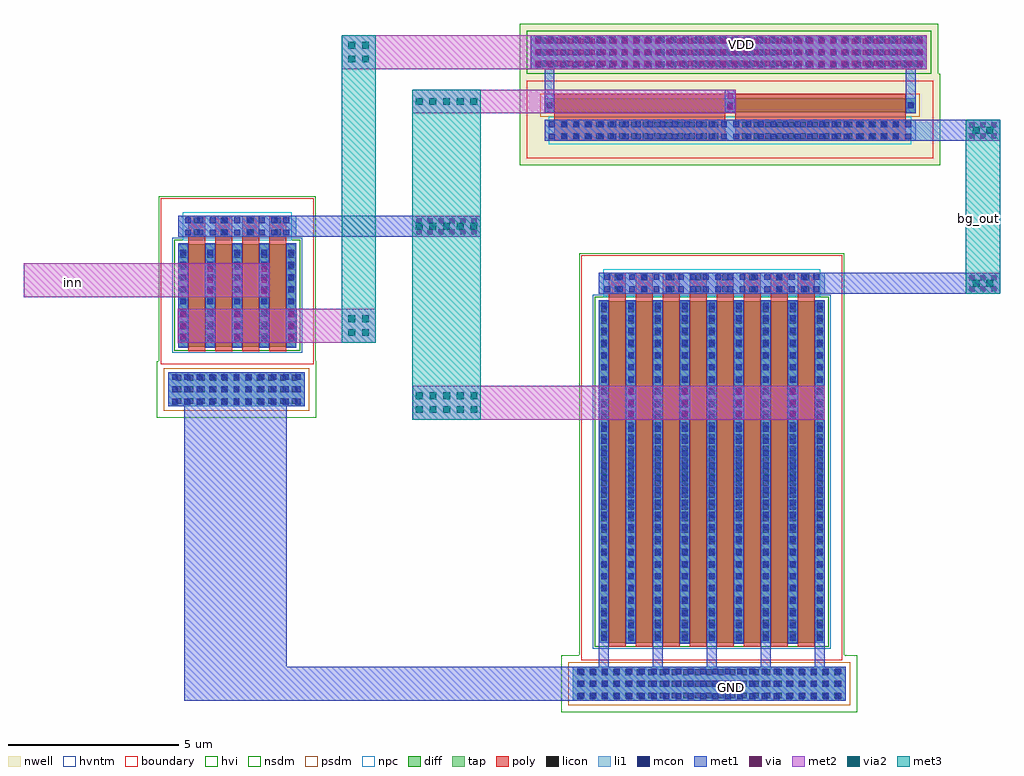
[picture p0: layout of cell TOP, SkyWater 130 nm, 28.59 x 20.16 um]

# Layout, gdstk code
import gdstk
lib = gdstk.Library(unit=1e-6, precision=1e-09)
def R(c, l, rs):  # rectangles x0, y0, x1, y1
    for r in rs: c.add(gdstk.rectangle(r[:2], r[2:], *l))
def A(c, l, x, y, w, h, nx, ny, dx, dy):  # array of equal rectangles
    R(c, l, [(x+i*dx, y+j*dy, x+i*dx+w, y+j*dy+h) for i in range(nx) for j in range(ny)])
nwell = (64, 20)
diff = (65, 20)
tap = (65, 44)
poly = (66, 20)
licon = (66, 44)
li1 = (67, 20)
mcon = (67, 44)
met1 = (68, 20)
via = (68, 44)
met2 = (69, 20)
via2 = (69, 44)
met3 = (70, 20)
hvi = (75, 20)
nsdm = (93, 44)
psdm = (94, 20)
npc = (95, 20)
hvntm = (125, 20)
boundary = (235, 4)

via_new_10 = lib.new_cell('via_new$10')
A(via_new_10, licon, 0.275, -0.425, 0.17, 0.17, 33, 3, 0.34, 0.34)
A(via_new_10, mcon, 0.135, -0.445, 0.17, 0.17, 32, 3, 0.36, 0.36)
A(via_new_10, via, 0.125, -0.395, 0.15, 0.15, 36, 3, 0.32, 0.32)
via_new_10.add(gdstk.FlexPath([(0,0),(11.6,0)], 1, ends="flush", simple_path=True, layer=67, datatype=20))  # li1
via_new_10.add(gdstk.FlexPath([(0,0),(11.6,0)], 1, ends="flush", simple_path=True, layer=68, datatype=20))  # met1
via_new_10.add(gdstk.FlexPath([(-0.33,0),(11.93,0)], 1.66, ends="flush", simple_path=True, layer=75, datatype=20))  # hvi
via_new_10.add(gdstk.FlexPath([(-0.125,0),(11.725,0)], 1.25, ends="flush", simple_path=True, layer=93, datatype=44))  # nsdm
via_new_10.add(gdstk.FlexPath([(-0.125,0),(11.725,0)], 1.25, ends="flush", simple_path=True, layer=64, datatype=20))  # nwell
via_new_10.add(gdstk.FlexPath([(-0.33,0),(11.93,0)], 1.66, ends="flush", simple_path=True, layer=64, datatype=20))  # nwell
via_new_10.add(gdstk.FlexPath([(0,0),(11.6,0)], 1, ends="flush", simple_path=True, layer=69, datatype=20))  # met2
via_new_10.add(gdstk.FlexPath([(0,0),(11.6,0)], 1, ends="flush", simple_path=True, layer=65, datatype=44))  # tap

pmos5_w0p42u_l5p0u_nf2_d = lib.new_cell('pmos5_w0p42u_l5p0u_nf2_drain_area1_gate_connection1alt1')
R(pmos5_w0p42u_l5p0u_nf2_d, nwell, [(-0.72,-1.55,11.59,1.14)])
R(pmos5_w0p42u_l5p0u_nf2_d, diff, [(0,0,10.87,0.42)])
R(pmos5_w0p42u_l5p0u_nf2_d, poly, [(0.29,-0.83,5.29,-0.22), (5.58,-0.83,10.58,-0.22), (0.29,-0.22,5.29,-0.13), (5.58,-0.22,10.58,-0.13), (0.29,-0.13,5.29,0.55), (5.58,-0.13,10.58,0.55)])
A(pmos5_w0p42u_l5p0u_nf2_d, licon, 0.495, -0.78, 0.17, 0.17, 14, 2, 0.34, 0.34)
A(pmos5_w0p42u_l5p0u_nf2_d, licon, 5.785, -0.78, 0.17, 0.17, 14, 2, 0.34, 0.34)
A(pmos5_w0p42u_l5p0u_nf2_d, licon, 0.06, 0.125, 0.17, 0.17, 3, 1, 5.29, 0)
R(pmos5_w0p42u_l5p0u_nf2_d, li1, [(0,-0.83,10.87,-0.22)])
A(pmos5_w0p42u_l5p0u_nf2_d, mcon, 0.13, -0.79, 0.17, 0.17, 30, 2, 0.36, 0.36)
R(pmos5_w0p42u_l5p0u_nf2_d, mcon, [(0.06,0.125,0.23,0.295), (0.06,0.125,0.23,0.295), (5.35,0.125,5.52,0.295), (5.35,0.125,5.52,0.295), (10.64,0.125,10.81,0.295), (10.64,0.125,10.81,0.295)])
R(pmos5_w0p42u_l5p0u_nf2_d, met1, [(0,-0.83,10.87,-0.22)])
R(pmos5_w0p42u_l5p0u_nf2_d, hvi, [(-0.72,-1.55,11.59,1.14)])
R(pmos5_w0p42u_l5p0u_nf2_d, psdm, [(-0.125,-0.125,10.995,0.545)])
R(pmos5_w0p42u_l5p0u_nf2_d, npc, [(0.13,-0.93,5.45,-0.12), (5.42,-0.93,10.74,-0.12)])
R(pmos5_w0p42u_l5p0u_nf2_d, boundary, [(-0.515,-1.345,11.385,0.935)])
pmos5_w0p42u_l5p0u_nf2_d.add(gdstk.FlexPath([(0.145,0),(0.145,0.42)], 0.29, ends="flush", simple_path=True, layer=67, datatype=20))  # li1
pmos5_w0p42u_l5p0u_nf2_d.add(gdstk.FlexPath([(5.435,0),(5.435,0.42)], 0.29, ends="flush", simple_path=True, layer=67, datatype=20))  # li1
pmos5_w0p42u_l5p0u_nf2_d.add(gdstk.FlexPath([(10.725,0),(10.725,0.42)], 0.29, ends="flush", simple_path=True, layer=67, datatype=20))  # li1
pmos5_w0p42u_l5p0u_nf2_d.add(gdstk.FlexPath([(0.145,-0.03),(0.145,0.45)], 0.29, ends="flush", simple_path=True, layer=68, datatype=20))  # met1
pmos5_w0p42u_l5p0u_nf2_d.add(gdstk.FlexPath([(5.435,-0.03),(5.435,0.45)], 0.29, ends="flush", simple_path=True, layer=68, datatype=20))  # met1
pmos5_w0p42u_l5p0u_nf2_d.add(gdstk.FlexPath([(10.725,-0.03),(10.725,0.45)], 0.29, ends="flush", simple_path=True, layer=68, datatype=20))  # met1

pmos5d10 = lib.new_cell('pmos5d10')
r = gdstk.Reference(pmos5_w0p42u_l5p0u_nf2_d, (0,0)); r.repetition = gdstk.Repetition(1, 1, v1=(0,0), v2=(0,0)); pmos5d10.add(r)

via_new_5 = lib.new_cell('via_new$5')
R(via_new_5, via, [(0.085,-0.235,0.235,-0.085), (0.085,0.085,0.235,0.235)])
via_new_5.add(gdstk.FlexPath([(0,0),(0.32,0)], 0.7, ends="flush", simple_path=True, layer=68, datatype=20))  # met1
via_new_5.add(gdstk.FlexPath([(0,0),(0.32,0)], 0.7, ends="flush", simple_path=True, layer=69, datatype=20))  # met2

via_new_6 = lib.new_cell('via_new$6')
A(via_new_6, via, 0.105, -0.235, 0.15, 0.15, 3, 2, 0.32, 0.32)
R(via_new_6, via2, [(0.2,-0.1,0.4,0.1), (0.6,-0.1,0.8,0.1)])
via_new_6.add(gdstk.FlexPath([(0,0),(1,0)], 0.61, ends="flush", simple_path=True, layer=68, datatype=20))  # met1
via_new_6.add(gdstk.FlexPath([(0,0),(1,0)], 0.61, ends="flush", simple_path=True, layer=69, datatype=20))  # met2
via_new_6.add(gdstk.FlexPath([(0,0),(1,0)], 0.61, ends="flush", simple_path=True, layer=70, datatype=20))  # met3

via_new_7 = lib.new_cell('via_new$7')
A(via_new_7, via2, 0.1, -0.1, 0.2, 0.2, 5, 1, 0.4, 0)
via_new_7.add(gdstk.FlexPath([(0,0),(2,0)], 0.69, ends="flush", simple_path=True, layer=69, datatype=20))  # met2
via_new_7.add(gdstk.FlexPath([(0,0),(2,0)], 0.69, ends="flush", simple_path=True, layer=70, datatype=20))  # met3

via_new_3 = lib.new_cell('via_new$3')
A(via_new_3, via2, 0.1, -0.3, 0.2, 0.2, 5, 2, 0.4, 0.4)
via_new_3.add(gdstk.FlexPath([(0,0),(2,0)], 1, ends="flush", simple_path=True, layer=69, datatype=20))  # met2
via_new_3.add(gdstk.FlexPath([(0,0),(2,0)], 1, ends="flush", simple_path=True, layer=70, datatype=20))  # met3

via_new_8 = lib.new_cell('via_new$8')
A(via_new_8, via, 0.085, -0.395, 0.15, 0.15, 1, 3, 0, 0.32)
via_new_8.add(gdstk.FlexPath([(0,0),(0.32,0)], 1, ends="flush", simple_path=True, layer=68, datatype=20))  # met1
via_new_8.add(gdstk.FlexPath([(0,0),(0.32,0)], 1, ends="flush", simple_path=True, layer=69, datatype=20))  # met2

via_new_12 = lib.new_cell('via_new$12')
A(via_new_12, licon, 0.175, -0.425, 0.17, 0.17, 23, 3, 0.34, 0.34)
A(via_new_12, mcon, 0.135, -0.445, 0.17, 0.17, 22, 3, 0.36, 0.36)
via_new_12.add(gdstk.FlexPath([(0,0),(8,0)], 1, ends="flush", simple_path=True, layer=67, datatype=20))  # li1
via_new_12.add(gdstk.FlexPath([(0,0),(8,0)], 1, ends="flush", simple_path=True, layer=68, datatype=20))  # met1
via_new_12.add(gdstk.FlexPath([(-0.33,0),(8.33,0)], 1.66, ends="flush", simple_path=True, layer=75, datatype=20))  # hvi
via_new_12.add(gdstk.FlexPath([(-0.125,0),(8.125,0)], 1.25, ends="flush", simple_path=True, layer=94, datatype=20))  # psdm
via_new_12.add(gdstk.FlexPath([(0,0),(8,0)], 1, ends="flush", simple_path=True, layer=65, datatype=44))  # tap

nmos5_w10p0u_l0p5u_nf8_d = lib.new_cell('nmos5_w10p0u_l0p5u_nf8_drain_area1_gate_connection0alt1')
R(nmos5_w10p0u_l0p5u_nf8_d, diff, [(0,0,6.61,10)])
A(nmos5_w10p0u_l0p5u_nf8_d, poly, 0.29, -0.13, 0.5, 10.26, 8, 1, 0.79, 0)
R(nmos5_w10p0u_l0p5u_nf8_d, poly, [(0.29,10.13,0.79,10.22), (0.29,10.13,0.79,10.22), (0.29,10.13,0.79,10.22), (0.29,10.13,0.79,10.22), (1.08,10.13,1.58,10.22), (1.08,10.13,1.58,10.22), (1.08,10.13,1.58,10.22), (1.08,10.13,1.58,10.22), (1.87,10.13,2.37,10.22), (1.87,10.13,2.37,10.22), (1.87,10.13,2.37,10.22), (1.87,10.13,2.37,10.22), (2.66,10.13,3.16,10.22), (2.66,10.13,3.16,10.22), (2.66,10.13,3.16,10.22), (2.66,10.13,3.16,10.22), (3.45,10.13,3.95,10.22), (3.45,10.13,3.95,10.22), (3.45,10.13,3.95,10.22), (3.45,10.13,3.95,10.22), (4.24,10.13,4.74,10.22), (4.24,10.13,4.74,10.22), (4.24,10.13,4.74,10.22), (4.24,10.13,4.74,10.22), (5.03,10.13,5.53,10.22), (5.03,10.13,5.53,10.22), (5.03,10.13,5.53,10.22), (5.03,10.13,5.53,10.22), (5.82,10.13,6.32,10.22), (5.82,10.13,6.32,10.22), (5.82,10.13,6.32,10.22), (5.82,10.13,6.32,10.22), (0.29,10.22,0.79,10.83), (0.29,10.22,0.79,10.83), (0.29,10.22,0.79,10.83), (0.29,10.22,0.79,10.83), (1.08,10.22,1.58,10.83), (1.08,10.22,1.58,10.83), (1.08,10.22,1.58,10.83), (1.08,10.22,1.58,10.83), (1.87,10.22,2.37,10.83), (1.87,10.22,2.37,10.83), (1.87,10.22,2.37,10.83), (1.87,10.22,2.37,10.83), (2.66,10.22,3.16,10.83), (2.66,10.22,3.16,10.83), (2.66,10.22,3.16,10.83), (2.66,10.22,3.16,10.83), (3.45,10.22,3.95,10.83), (3.45,10.22,3.95,10.83), (3.45,10.22,3.95,10.83), (3.45,10.22,3.95,10.83), (4.24,10.22,4.74,10.83), (4.24,10.22,4.74,10.83), (4.24,10.22,4.74,10.83), (4.24,10.22,4.74,10.83), (5.03,10.22,5.53,10.83), (5.03,10.22,5.53,10.83), (5.03,10.22,5.53,10.83), (5.03,10.22,5.53,10.83), (5.82,10.22,6.32,10.83), (5.82,10.22,6.32,10.83), (5.82,10.22,6.32,10.83), (5.82,10.22,6.32,10.83)])
A(nmos5_w10p0u_l0p5u_nf8_d, licon, 0.06, 0.155, 0.17, 0.17, 9, 29, 0.79, 0.34)
R(nmos5_w10p0u_l0p5u_nf8_d, licon, [(0.455,10.27,0.625,10.44), (0.455,10.27,0.625,10.44), (0.455,10.27,0.625,10.44), (0.455,10.27,0.625,10.44), (1.245,10.27,1.415,10.44), (1.245,10.27,1.415,10.44), (1.245,10.27,1.415,10.44), (1.245,10.27,1.415,10.44), (2.035,10.27,2.205,10.44), (2.035,10.27,2.205,10.44), (2.035,10.27,2.205,10.44), (2.035,10.27,2.205,10.44), (2.825,10.27,2.995,10.44), (2.825,10.27,2.995,10.44), (2.825,10.27,2.995,10.44), (2.825,10.27,2.995,10.44), (3.615,10.27,3.785,10.44), (3.615,10.27,3.785,10.44), (3.615,10.27,3.785,10.44), (3.615,10.27,3.785,10.44), (4.405,10.27,4.575,10.44), (4.405,10.27,4.575,10.44), (4.405,10.27,4.575,10.44), (4.405,10.27,4.575,10.44), (5.195,10.27,5.365,10.44), (5.195,10.27,5.365,10.44), (5.195,10.27,5.365,10.44), (5.195,10.27,5.365,10.44), (5.985,10.27,6.155,10.44), (5.985,10.27,6.155,10.44), (5.985,10.27,6.155,10.44), (5.985,10.27,6.155,10.44), (0.455,10.61,0.625,10.78), (0.455,10.61,0.625,10.78), (0.455,10.61,0.625,10.78), (0.455,10.61,0.625,10.78), (1.245,10.61,1.415,10.78), (1.245,10.61,1.415,10.78), (1.245,10.61,1.415,10.78), (1.245,10.61,1.415,10.78), (2.035,10.61,2.205,10.78), (2.035,10.61,2.205,10.78), (2.035,10.61,2.205,10.78), (2.035,10.61,2.205,10.78), (2.825,10.61,2.995,10.78), (2.825,10.61,2.995,10.78), (2.825,10.61,2.995,10.78), (2.825,10.61,2.995,10.78), (3.615,10.61,3.785,10.78), (3.615,10.61,3.785,10.78), (3.615,10.61,3.785,10.78), (3.615,10.61,3.785,10.78), (4.405,10.61,4.575,10.78), (4.405,10.61,4.575,10.78), (4.405,10.61,4.575,10.78), (4.405,10.61,4.575,10.78), (5.195,10.61,5.365,10.78), (5.195,10.61,5.365,10.78), (5.195,10.61,5.365,10.78), (5.195,10.61,5.365,10.78), (5.985,10.61,6.155,10.78), (5.985,10.61,6.155,10.78), (5.985,10.61,6.155,10.78), (5.985,10.61,6.155,10.78)])
R(nmos5_w10p0u_l0p5u_nf8_d, li1, [(0,10.22,6.61,10.83)])
A(nmos5_w10p0u_l0p5u_nf8_d, mcon, 0.16, 10.26, 0.17, 0.17, 18, 2, 0.36, 0.36)
R(nmos5_w10p0u_l0p5u_nf8_d, mcon, [(0.06,0.055,0.23,0.225), (0.06,0.055,0.23,0.225), (0.85,0.055,1.02,0.225), (0.85,0.055,1.02,0.225), (1.64,0.055,1.81,0.225), (1.64,0.055,1.81,0.225), (2.43,0.055,2.6,0.225), (2.43,0.055,2.6,0.225), (3.22,0.055,3.39,0.225), (3.22,0.055,3.39,0.225), (4.01,0.055,4.18,0.225), (4.01,0.055,4.18,0.225), (4.8,0.055,4.97,0.225), (4.8,0.055,4.97,0.225), (5.59,0.055,5.76,0.225), (5.59,0.055,5.76,0.225), (6.38,0.055,6.55,0.225), (6.38,0.055,6.55,0.225), (0.06,0.415,0.23,0.585), (0.06,0.415,0.23,0.585), (0.85,0.415,1.02,0.585), (0.85,0.415,1.02,0.585), (1.64,0.415,1.81,0.585), (1.64,0.415,1.81,0.585), (2.43,0.415,2.6,0.585), (2.43,0.415,2.6,0.585), (3.22,0.415,3.39,0.585), (3.22,0.415,3.39,0.585), (4.01,0.415,4.18,0.585), (4.01,0.415,4.18,0.585), (4.8,0.415,4.97,0.585), (4.8,0.415,4.97,0.585), (5.59,0.415,5.76,0.585), (5.59,0.415,5.76,0.585), (6.38,0.415,6.55,0.585), (6.38,0.415,6.55,0.585), (0.06,0.775,0.23,0.945), (0.06,0.775,0.23,0.945), (0.85,0.775,1.02,0.945), (0.85,0.775,1.02,0.945), (1.64,0.775,1.81,0.945), (1.64,0.775,1.81,0.945), (2.43,0.775,2.6,0.945), (2.43,0.775,2.6,0.945), (3.22,0.775,3.39,0.945), (3.22,0.775,3.39,0.945), (4.01,0.775,4.18,0.945), (4.01,0.775,4.18,0.945), (4.8,0.775,4.97,0.945), (4.8,0.775,4.97,0.945), (5.59,0.775,5.76,0.945), (5.59,0.775,5.76,0.945), (6.38,0.775,6.55,0.945), (6.38,0.775,6.55,0.945), (0.06,1.135,0.23,1.305), (0.06,1.135,0.23,1.305), (0.85,1.135,1.02,1.305), (0.85,1.135,1.02,1.305), (1.64,1.135,1.81,1.305), (1.64,1.135,1.81,1.305), (2.43,1.135,2.6,1.305), (2.43,1.135,2.6,1.305), (3.22,1.135,3.39,1.305), (3.22,1.135,3.39,1.305), (4.01,1.135,4.18,1.305), (4.01,1.135,4.18,1.305), (4.8,1.135,4.97,1.305), (4.8,1.135,4.97,1.305), (5.59,1.135,5.76,1.305), (5.59,1.135,5.76,1.305), (6.38,1.135,6.55,1.305), (6.38,1.135,6.55,1.305), (0.06,1.495,0.23,1.665), (0.06,1.495,0.23,1.665), (0.85,1.495,1.02,1.665), (0.85,1.495,1.02,1.665), (1.64,1.495,1.81,1.665), (1.64,1.495,1.81,1.665), (2.43,1.495,2.6,1.665), (2.43,1.495,2.6,1.665), (3.22,1.495,3.39,1.665), (3.22,1.495,3.39,1.665), (4.01,1.495,4.18,1.665), (4.01,1.495,4.18,1.665), (4.8,1.495,4.97,1.665), (4.8,1.495,4.97,1.665), (5.59,1.495,5.76,1.665), (5.59,1.495,5.76,1.665), (6.38,1.495,6.55,1.665), (6.38,1.495,6.55,1.665), (0.06,1.855,0.23,2.025), (0.06,1.855,0.23,2.025), (0.85,1.855,1.02,2.025), (0.85,1.855,1.02,2.025), (1.64,1.855,1.81,2.025), (1.64,1.855,1.81,2.025), (2.43,1.855,2.6,2.025), (2.43,1.855,2.6,2.025), (3.22,1.855,3.39,2.025), (3.22,1.855,3.39,2.025), (4.01,1.855,4.18,2.025), (4.01,1.855,4.18,2.025), (4.8,1.855,4.97,2.025), (4.8,1.855,4.97,2.025), (5.59,1.855,5.76,2.025), (5.59,1.855,5.76,2.025), (6.38,1.855,6.55,2.025), (6.38,1.855,6.55,2.025), (0.06,2.215,0.23,2.385), (0.06,2.215,0.23,2.385), (0.85,2.215,1.02,2.385), (0.85,2.215,1.02,2.385), (1.64,2.215,1.81,2.385), (1.64,2.215,1.81,2.385), (2.43,2.215,2.6,2.385), (2.43,2.215,2.6,2.385), (3.22,2.215,3.39,2.385), (3.22,2.215,3.39,2.385), (4.01,2.215,4.18,2.385), (4.01,2.215,4.18,2.385), (4.8,2.215,4.97,2.385), (4.8,2.215,4.97,2.385), (5.59,2.215,5.76,2.385), (5.59,2.215,5.76,2.385), (6.38,2.215,6.55,2.385), (6.38,2.215,6.55,2.385), (0.06,2.575,0.23,2.745), (0.06,2.575,0.23,2.745), (0.85,2.575,1.02,2.745), (0.85,2.575,1.02,2.745), (1.64,2.575,1.81,2.745), (1.64,2.575,1.81,2.745), (2.43,2.575,2.6,2.745), (2.43,2.575,2.6,2.745), (3.22,2.575,3.39,2.745), (3.22,2.575,3.39,2.745), (4.01,2.575,4.18,2.745), (4.01,2.575,4.18,2.745), (4.8,2.575,4.97,2.745), (4.8,2.575,4.97,2.745), (5.59,2.575,5.76,2.745), (5.59,2.575,5.76,2.745), (6.38,2.575,6.55,2.745), (6.38,2.575,6.55,2.745), (0.06,2.935,0.23,3.105), (0.06,2.935,0.23,3.105), (0.85,2.935,1.02,3.105), (0.85,2.935,1.02,3.105), (1.64,2.935,1.81,3.105), (1.64,2.935,1.81,3.105), (2.43,2.935,2.6,3.105), (2.43,2.935,2.6,3.105), (3.22,2.935,3.39,3.105), (3.22,2.935,3.39,3.105), (4.01,2.935,4.18,3.105), (4.01,2.935,4.18,3.105), (4.8,2.935,4.97,3.105), (4.8,2.935,4.97,3.105), (5.59,2.935,5.76,3.105), (5.59,2.935,5.76,3.105), (6.38,2.935,6.55,3.105), (6.38,2.935,6.55,3.105), (0.06,3.295,0.23,3.465), (0.06,3.295,0.23,3.465), (0.85,3.295,1.02,3.465), (0.85,3.295,1.02,3.465), (1.64,3.295,1.81,3.465), (1.64,3.295,1.81,3.465), (2.43,3.295,2.6,3.465), (2.43,3.295,2.6,3.465), (3.22,3.295,3.39,3.465), (3.22,3.295,3.39,3.465), (4.01,3.295,4.18,3.465), (4.01,3.295,4.18,3.465), (4.8,3.295,4.97,3.465), (4.8,3.295,4.97,3.465), (5.59,3.295,5.76,3.465), (5.59,3.295,5.76,3.465), (6.38,3.295,6.55,3.465), (6.38,3.295,6.55,3.465), (0.06,3.655,0.23,3.825), (0.06,3.655,0.23,3.825), (0.85,3.655,1.02,3.825), (0.85,3.655,1.02,3.825), (1.64,3.655,1.81,3.825), (1.64,3.655,1.81,3.825), (2.43,3.655,2.6,3.825), (2.43,3.655,2.6,3.825), (3.22,3.655,3.39,3.825), (3.22,3.655,3.39,3.825), (4.01,3.655,4.18,3.825), (4.01,3.655,4.18,3.825), (4.8,3.655,4.97,3.825), (4.8,3.655,4.97,3.825), (5.59,3.655,5.76,3.825), (5.59,3.655,5.76,3.825), (6.38,3.655,6.55,3.825), (6.38,3.655,6.55,3.825), (0.06,4.015,0.23,4.185), (0.06,4.015,0.23,4.185), (0.85,4.015,1.02,4.185), (0.85,4.015,1.02,4.185), (1.64,4.015,1.81,4.185), (1.64,4.015,1.81,4.185), (2.43,4.015,2.6,4.185), (2.43,4.015,2.6,4.185), (3.22,4.015,3.39,4.185), (3.22,4.015,3.39,4.185), (4.01,4.015,4.18,4.185), (4.01,4.015,4.18,4.185), (4.8,4.015,4.97,4.185), (4.8,4.015,4.97,4.185), (5.59,4.015,5.76,4.185), (5.59,4.015,5.76,4.185), (6.38,4.015,6.55,4.185), (6.38,4.015,6.55,4.185), (0.06,4.375,0.23,4.545), (0.06,4.375,0.23,4.545), (0.85,4.375,1.02,4.545), (0.85,4.375,1.02,4.545), (1.64,4.375,1.81,4.545), (1.64,4.375,1.81,4.545), (2.43,4.375,2.6,4.545), (2.43,4.375,2.6,4.545), (3.22,4.375,3.39,4.545), (3.22,4.375,3.39,4.545), (4.01,4.375,4.18,4.545), (4.01,4.375,4.18,4.545), (4.8,4.375,4.97,4.545), (4.8,4.375,4.97,4.545), (5.59,4.375,5.76,4.545), (5.59,4.375,5.76,4.545), (6.38,4.375,6.55,4.545), (6.38,4.375,6.55,4.545), (0.06,4.735,0.23,4.905), (0.06,4.735,0.23,4.905), (0.85,4.735,1.02,4.905), (0.85,4.735,1.02,4.905), (1.64,4.735,1.81,4.905), (1.64,4.735,1.81,4.905), (2.43,4.735,2.6,4.905), (2.43,4.735,2.6,4.905), (3.22,4.735,3.39,4.905), (3.22,4.735,3.39,4.905), (4.01,4.735,4.18,4.905), (4.01,4.735,4.18,4.905), (4.8,4.735,4.97,4.905), (4.8,4.735,4.97,4.905), (5.59,4.735,5.76,4.905), (5.59,4.735,5.76,4.905), (6.38,4.735,6.55,4.905), (6.38,4.735,6.55,4.905), (0.06,5.095,0.23,5.265), (0.06,5.095,0.23,5.265), (0.85,5.095,1.02,5.265), (0.85,5.095,1.02,5.265), (1.64,5.095,1.81,5.265), (1.64,5.095,1.81,5.265), (2.43,5.095,2.6,5.265), (2.43,5.095,2.6,5.265), (3.22,5.095,3.39,5.265), (3.22,5.095,3.39,5.265), (4.01,5.095,4.18,5.265), (4.01,5.095,4.18,5.265), (4.8,5.095,4.97,5.265), (4.8,5.095,4.97,5.265), (5.59,5.095,5.76,5.265), (5.59,5.095,5.76,5.265), (6.38,5.095,6.55,5.265), (6.38,5.095,6.55,5.265), (0.06,5.455,0.23,5.625), (0.06,5.455,0.23,5.625), (0.85,5.455,1.02,5.625), (0.85,5.455,1.02,5.625), (1.64,5.455,1.81,5.625), (1.64,5.455,1.81,5.625), (2.43,5.455,2.6,5.625), (2.43,5.455,2.6,5.625), (3.22,5.455,3.39,5.625), (3.22,5.455,3.39,5.625), (4.01,5.455,4.18,5.625), (4.01,5.455,4.18,5.625), (4.8,5.455,4.97,5.625), (4.8,5.455,4.97,5.625), (5.59,5.455,5.76,5.625), (5.59,5.455,5.76,5.625), (6.38,5.455,6.55,5.625), (6.38,5.455,6.55,5.625), (0.06,5.815,0.23,5.985), (0.06,5.815,0.23,5.985), (0.85,5.815,1.02,5.985), (0.85,5.815,1.02,5.985), (1.64,5.815,1.81,5.985), (1.64,5.815,1.81,5.985), (2.43,5.815,2.6,5.985), (2.43,5.815,2.6,5.985), (3.22,5.815,3.39,5.985), (3.22,5.815,3.39,5.985), (4.01,5.815,4.18,5.985), (4.01,5.815,4.18,5.985), (4.8,5.815,4.97,5.985), (4.8,5.815,4.97,5.985), (5.59,5.815,5.76,5.985), (5.59,5.815,5.76,5.985), (6.38,5.815,6.55,5.985), (6.38,5.815,6.55,5.985), (0.06,6.175,0.23,6.345), (0.06,6.175,0.23,6.345), (0.85,6.175,1.02,6.345), (0.85,6.175,1.02,6.345), (1.64,6.175,1.81,6.345), (1.64,6.175,1.81,6.345), (2.43,6.175,2.6,6.345), (2.43,6.175,2.6,6.345), (3.22,6.175,3.39,6.345), (3.22,6.175,3.39,6.345), (4.01,6.175,4.18,6.345), (4.01,6.175,4.18,6.345), (4.8,6.175,4.97,6.345), (4.8,6.175,4.97,6.345), (5.59,6.175,5.76,6.345), (5.59,6.175,5.76,6.345), (6.38,6.175,6.55,6.345), (6.38,6.175,6.55,6.345), (0.06,6.535,0.23,6.705), (0.06,6.535,0.23,6.705), (0.85,6.535,1.02,6.705), (0.85,6.535,1.02,6.705), (1.64,6.535,1.81,6.705), (1.64,6.535,1.81,6.705), (2.43,6.535,2.6,6.705), (2.43,6.535,2.6,6.705), (3.22,6.535,3.39,6.705), (3.22,6.535,3.39,6.705), (4.01,6.535,4.18,6.705), (4.01,6.535,4.18,6.705), (4.8,6.535,4.97,6.705), (4.8,6.535,4.97,6.705), (5.59,6.535,5.76,6.705), (5.59,6.535,5.76,6.705), (6.38,6.535,6.55,6.705), (6.38,6.535,6.55,6.705), (0.06,6.895,0.23,7.065), (0.06,6.895,0.23,7.065), (0.85,6.895,1.02,7.065), (0.85,6.895,1.02,7.065), (1.64,6.895,1.81,7.065), (1.64,6.895,1.81,7.065), (2.43,6.895,2.6,7.065), (2.43,6.895,2.6,7.065), (3.22,6.895,3.39,7.065), (3.22,6.895,3.39,7.065), (4.01,6.895,4.18,7.065), (4.01,6.895,4.18,7.065), (4.8,6.895,4.97,7.065), (4.8,6.895,4.97,7.065), (5.59,6.895,5.76,7.065), (5.59,6.895,5.76,7.065), (6.38,6.895,6.55,7.065), (6.38,6.895,6.55,7.065), (0.06,7.255,0.23,7.425), (0.06,7.255,0.23,7.425), (0.85,7.255,1.02,7.425), (0.85,7.255,1.02,7.425), (1.64,7.255,1.81,7.425), (1.64,7.255,1.81,7.425), (2.43,7.255,2.6,7.425), (2.43,7.255,2.6,7.425), (3.22,7.255,3.39,7.425), (3.22,7.255,3.39,7.425), (4.01,7.255,4.18,7.425), (4.01,7.255,4.18,7.425), (4.8,7.255,4.97,7.425), (4.8,7.255,4.97,7.425), (5.59,7.255,5.76,7.425), (5.59,7.255,5.76,7.425), (6.38,7.255,6.55,7.425), (6.38,7.255,6.55,7.425), (0.06,7.615,0.23,7.785), (0.06,7.615,0.23,7.785), (0.85,7.615,1.02,7.785), (0.85,7.615,1.02,7.785), (1.64,7.615,1.81,7.785), (1.64,7.615,1.81,7.785), (2.43,7.615,2.6,7.785), (2.43,7.615,2.6,7.785), (3.22,7.615,3.39,7.785), (3.22,7.615,3.39,7.785), (4.01,7.615,4.18,7.785), (4.01,7.615,4.18,7.785), (4.8,7.615,4.97,7.785), (4.8,7.615,4.97,7.785), (5.59,7.615,5.76,7.785), (5.59,7.615,5.76,7.785), (6.38,7.615,6.55,7.785), (6.38,7.615,6.55,7.785), (0.06,7.975,0.23,8.145), (0.06,7.975,0.23,8.145), (0.85,7.975,1.02,8.145), (0.85,7.975,1.02,8.145), (1.64,7.975,1.81,8.145), (1.64,7.975,1.81,8.145), (2.43,7.975,2.6,8.145), (2.43,7.975,2.6,8.145), (3.22,7.975,3.39,8.145), (3.22,7.975,3.39,8.145), (4.01,7.975,4.18,8.145), (4.01,7.975,4.18,8.145), (4.8,7.975,4.97,8.145), (4.8,7.975,4.97,8.145), (5.59,7.975,5.76,8.145), (5.59,7.975,5.76,8.145), (6.38,7.975,6.55,8.145), (6.38,7.975,6.55,8.145), (0.06,8.335,0.23,8.505), (0.06,8.335,0.23,8.505), (0.85,8.335,1.02,8.505), (0.85,8.335,1.02,8.505), (1.64,8.335,1.81,8.505), (1.64,8.335,1.81,8.505), (2.43,8.335,2.6,8.505), (2.43,8.335,2.6,8.505), (3.22,8.335,3.39,8.505), (3.22,8.335,3.39,8.505), (4.01,8.335,4.18,8.505), (4.01,8.335,4.18,8.505), (4.8,8.335,4.97,8.505), (4.8,8.335,4.97,8.505), (5.59,8.335,5.76,8.505), (5.59,8.335,5.76,8.505), (6.38,8.335,6.55,8.505), (6.38,8.335,6.55,8.505), (0.06,8.695,0.23,8.865), (0.06,8.695,0.23,8.865), (0.85,8.695,1.02,8.865), (0.85,8.695,1.02,8.865), (1.64,8.695,1.81,8.865), (1.64,8.695,1.81,8.865), (2.43,8.695,2.6,8.865), (2.43,8.695,2.6,8.865), (3.22,8.695,3.39,8.865), (3.22,8.695,3.39,8.865), (4.01,8.695,4.18,8.865), (4.01,8.695,4.18,8.865), (4.8,8.695,4.97,8.865), (4.8,8.695,4.97,8.865), (5.59,8.695,5.76,8.865), (5.59,8.695,5.76,8.865), (6.38,8.695,6.55,8.865), (6.38,8.695,6.55,8.865), (0.06,9.055,0.23,9.225), (0.06,9.055,0.23,9.225), (0.85,9.055,1.02,9.225), (0.85,9.055,1.02,9.225), (1.64,9.055,1.81,9.225), (1.64,9.055,1.81,9.225), (2.43,9.055,2.6,9.225), (2.43,9.055,2.6,9.225), (3.22,9.055,3.39,9.225), (3.22,9.055,3.39,9.225), (4.01,9.055,4.18,9.225), (4.01,9.055,4.18,9.225), (4.8,9.055,4.97,9.225), (4.8,9.055,4.97,9.225), (5.59,9.055,5.76,9.225), (5.59,9.055,5.76,9.225), (6.38,9.055,6.55,9.225), (6.38,9.055,6.55,9.225), (0.06,9.415,0.23,9.585), (0.06,9.415,0.23,9.585), (0.85,9.415,1.02,9.585), (0.85,9.415,1.02,9.585), (1.64,9.415,1.81,9.585), (1.64,9.415,1.81,9.585), (2.43,9.415,2.6,9.585), (2.43,9.415,2.6,9.585), (3.22,9.415,3.39,9.585), (3.22,9.415,3.39,9.585), (4.01,9.415,4.18,9.585), (4.01,9.415,4.18,9.585), (4.8,9.415,4.97,9.585), (4.8,9.415,4.97,9.585), (5.59,9.415,5.76,9.585), (5.59,9.415,5.76,9.585), (6.38,9.415,6.55,9.585), (6.38,9.415,6.55,9.585), (0.06,9.775,0.23,9.945), (0.06,9.775,0.23,9.945), (0.85,9.775,1.02,9.945), (0.85,9.775,1.02,9.945), (1.64,9.775,1.81,9.945), (1.64,9.775,1.81,9.945), (2.43,9.775,2.6,9.945), (2.43,9.775,2.6,9.945), (3.22,9.775,3.39,9.945), (3.22,9.775,3.39,9.945), (4.01,9.775,4.18,9.945), (4.01,9.775,4.18,9.945), (4.8,9.775,4.97,9.945), (4.8,9.775,4.97,9.945), (5.59,9.775,5.76,9.945), (5.59,9.775,5.76,9.945), (6.38,9.775,6.55,9.945), (6.38,9.775,6.55,9.945)])
R(nmos5_w10p0u_l0p5u_nf8_d, met1, [(0,10.22,6.61,10.83)])
R(nmos5_w10p0u_l0p5u_nf8_d, hvi, [(-0.575,-0.575,7.185,11.405)])
R(nmos5_w10p0u_l0p5u_nf8_d, nsdm, [(-0.125,-0.125,6.735,10.125)])
R(nmos5_w10p0u_l0p5u_nf8_d, npc, [(0.13,10.12,0.95,10.93), (0.13,10.12,0.95,10.93), (0.13,10.12,0.95,10.93), (0.13,10.12,0.95,10.93), (0.92,10.12,1.74,10.93), (0.92,10.12,1.74,10.93), (0.92,10.12,1.74,10.93), (0.92,10.12,1.74,10.93), (1.71,10.12,2.53,10.93), (1.71,10.12,2.53,10.93), (1.71,10.12,2.53,10.93), (1.71,10.12,2.53,10.93), (2.5,10.12,3.32,10.93), (2.5,10.12,3.32,10.93), (2.5,10.12,3.32,10.93), (2.5,10.12,3.32,10.93), (3.29,10.12,4.11,10.93), (3.29,10.12,4.11,10.93), (3.29,10.12,4.11,10.93), (3.29,10.12,4.11,10.93), (4.08,10.12,4.9,10.93), (4.08,10.12,4.9,10.93), (4.08,10.12,4.9,10.93), (4.08,10.12,4.9,10.93), (4.87,10.12,5.69,10.93), (4.87,10.12,5.69,10.93), (4.87,10.12,5.69,10.93), (4.87,10.12,5.69,10.93), (5.66,10.12,6.48,10.93), (5.66,10.12,6.48,10.93), (5.66,10.12,6.48,10.93), (5.66,10.12,6.48,10.93)])
R(nmos5_w10p0u_l0p5u_nf8_d, hvntm, [(-0.185,-0.185,6.795,10.185)])
R(nmos5_w10p0u_l0p5u_nf8_d, boundary, [(-0.515,-0.515,7.125,11.345)])
nmos5_w10p0u_l0p5u_nf8_d.add(gdstk.FlexPath([(0.145,0),(0.145,10)], 0.29, ends="flush", simple_path=True, layer=67, datatype=20))  # li1
nmos5_w10p0u_l0p5u_nf8_d.add(gdstk.FlexPath([(0.935,0),(0.935,10)], 0.29, ends="flush", simple_path=True, layer=67, datatype=20))  # li1
nmos5_w10p0u_l0p5u_nf8_d.add(gdstk.FlexPath([(1.725,0),(1.725,10)], 0.29, ends="flush", simple_path=True, layer=67, datatype=20))  # li1
nmos5_w10p0u_l0p5u_nf8_d.add(gdstk.FlexPath([(2.515,0),(2.515,10)], 0.29, ends="flush", simple_path=True, layer=67, datatype=20))  # li1
nmos5_w10p0u_l0p5u_nf8_d.add(gdstk.FlexPath([(3.305,0),(3.305,10)], 0.29, ends="flush", simple_path=True, layer=67, datatype=20))  # li1
nmos5_w10p0u_l0p5u_nf8_d.add(gdstk.FlexPath([(4.095,0),(4.095,10)], 0.29, ends="flush", simple_path=True, layer=67, datatype=20))  # li1
nmos5_w10p0u_l0p5u_nf8_d.add(gdstk.FlexPath([(4.885,0),(4.885,10)], 0.29, ends="flush", simple_path=True, layer=67, datatype=20))  # li1
nmos5_w10p0u_l0p5u_nf8_d.add(gdstk.FlexPath([(5.675,0),(5.675,10)], 0.29, ends="flush", simple_path=True, layer=67, datatype=20))  # li1
nmos5_w10p0u_l0p5u_nf8_d.add(gdstk.FlexPath([(6.465,0),(6.465,10)], 0.29, ends="flush", simple_path=True, layer=67, datatype=20))  # li1
nmos5_w10p0u_l0p5u_nf8_d.add(gdstk.FlexPath([(0.145,-0.03),(0.145,10.03)], 0.29, ends="flush", simple_path=True, layer=68, datatype=20))  # met1
nmos5_w10p0u_l0p5u_nf8_d.add(gdstk.FlexPath([(0.935,-0.03),(0.935,10.03)], 0.29, ends="flush", simple_path=True, layer=68, datatype=20))  # met1
nmos5_w10p0u_l0p5u_nf8_d.add(gdstk.FlexPath([(1.725,-0.03),(1.725,10.03)], 0.29, ends="flush", simple_path=True, layer=68, datatype=20))  # met1
nmos5_w10p0u_l0p5u_nf8_d.add(gdstk.FlexPath([(2.515,-0.03),(2.515,10.03)], 0.29, ends="flush", simple_path=True, layer=68, datatype=20))  # met1
nmos5_w10p0u_l0p5u_nf8_d.add(gdstk.FlexPath([(3.305,-0.03),(3.305,10.03)], 0.29, ends="flush", simple_path=True, layer=68, datatype=20))  # met1
nmos5_w10p0u_l0p5u_nf8_d.add(gdstk.FlexPath([(4.095,-0.03),(4.095,10.03)], 0.29, ends="flush", simple_path=True, layer=68, datatype=20))  # met1
nmos5_w10p0u_l0p5u_nf8_d.add(gdstk.FlexPath([(4.885,-0.03),(4.885,10.03)], 0.29, ends="flush", simple_path=True, layer=68, datatype=20))  # met1
nmos5_w10p0u_l0p5u_nf8_d.add(gdstk.FlexPath([(5.675,-0.03),(5.675,10.03)], 0.29, ends="flush", simple_path=True, layer=68, datatype=20))  # met1
nmos5_w10p0u_l0p5u_nf8_d.add(gdstk.FlexPath([(6.465,-0.03),(6.465,10.03)], 0.29, ends="flush", simple_path=True, layer=68, datatype=20))  # met1

nmos5d10_1 = lib.new_cell('nmos5d10$1')
r = gdstk.Reference(nmos5_w10p0u_l0p5u_nf8_d, (0,0)); r.repetition = gdstk.Repetition(1, 1, v1=(0,0), v2=(0,0)); nmos5d10_1.add(r)

nmos5_w3p0u_l0p5u_nf4_dr = lib.new_cell('nmos5_w3p0u_l0p5u_nf4_drain_area1_gate_connection0alt1$1')
R(nmos5_w3p0u_l0p5u_nf4_dr, diff, [(0,0,3.45,3)])
A(nmos5_w3p0u_l0p5u_nf4_dr, poly, 0.29, -0.13, 0.5, 3.26, 4, 1, 0.79, 0)
R(nmos5_w3p0u_l0p5u_nf4_dr, poly, [(0.29,3.13,0.79,3.22), (0.29,3.13,0.79,3.22), (1.08,3.13,1.58,3.22), (1.08,3.13,1.58,3.22), (1.87,3.13,2.37,3.22), (1.87,3.13,2.37,3.22), (2.66,3.13,3.16,3.22), (2.66,3.13,3.16,3.22), (0.29,3.22,0.79,3.83), (0.29,3.22,0.79,3.83), (1.08,3.22,1.58,3.83), (1.08,3.22,1.58,3.83), (1.87,3.22,2.37,3.83), (1.87,3.22,2.37,3.83), (2.66,3.22,3.16,3.83), (2.66,3.22,3.16,3.83)])
A(nmos5_w3p0u_l0p5u_nf4_dr, licon, 0.06, 0.225, 0.17, 0.17, 5, 8, 0.79, 0.34)
R(nmos5_w3p0u_l0p5u_nf4_dr, licon, [(0.455,3.27,0.625,3.44), (0.455,3.27,0.625,3.44), (1.245,3.27,1.415,3.44), (1.245,3.27,1.415,3.44), (2.035,3.27,2.205,3.44), (2.035,3.27,2.205,3.44), (2.825,3.27,2.995,3.44), (2.825,3.27,2.995,3.44), (0.455,3.61,0.625,3.78), (0.455,3.61,0.625,3.78), (1.245,3.61,1.415,3.78), (1.245,3.61,1.415,3.78), (2.035,3.61,2.205,3.78), (2.035,3.61,2.205,3.78), (2.825,3.61,2.995,3.78), (2.825,3.61,2.995,3.78)])
R(nmos5_w3p0u_l0p5u_nf4_dr, li1, [(0,3.22,3.45,3.83)])
A(nmos5_w3p0u_l0p5u_nf4_dr, mcon, 0.2, 3.26, 0.17, 0.17, 9, 2, 0.36, 0.36)
R(nmos5_w3p0u_l0p5u_nf4_dr, mcon, [(0.06,0.155,0.23,0.325), (0.06,0.155,0.23,0.325), (0.85,0.155,1.02,0.325), (0.85,0.155,1.02,0.325), (1.64,0.155,1.81,0.325), (1.64,0.155,1.81,0.325), (2.43,0.155,2.6,0.325), (2.43,0.155,2.6,0.325), (3.22,0.155,3.39,0.325), (3.22,0.155,3.39,0.325), (0.06,0.515,0.23,0.685), (0.06,0.515,0.23,0.685), (0.85,0.515,1.02,0.685), (0.85,0.515,1.02,0.685), (1.64,0.515,1.81,0.685), (1.64,0.515,1.81,0.685), (2.43,0.515,2.6,0.685), (2.43,0.515,2.6,0.685), (3.22,0.515,3.39,0.685), (3.22,0.515,3.39,0.685), (0.06,0.875,0.23,1.045), (0.06,0.875,0.23,1.045), (0.85,0.875,1.02,1.045), (0.85,0.875,1.02,1.045), (1.64,0.875,1.81,1.045), (1.64,0.875,1.81,1.045), (2.43,0.875,2.6,1.045), (2.43,0.875,2.6,1.045), (3.22,0.875,3.39,1.045), (3.22,0.875,3.39,1.045), (0.06,1.235,0.23,1.405), (0.06,1.235,0.23,1.405), (0.85,1.235,1.02,1.405), (0.85,1.235,1.02,1.405), (1.64,1.235,1.81,1.405), (1.64,1.235,1.81,1.405), (2.43,1.235,2.6,1.405), (2.43,1.235,2.6,1.405), (3.22,1.235,3.39,1.405), (3.22,1.235,3.39,1.405), (0.06,1.595,0.23,1.765), (0.06,1.595,0.23,1.765), (0.85,1.595,1.02,1.765), (0.85,1.595,1.02,1.765), (1.64,1.595,1.81,1.765), (1.64,1.595,1.81,1.765), (2.43,1.595,2.6,1.765), (2.43,1.595,2.6,1.765), (3.22,1.595,3.39,1.765), (3.22,1.595,3.39,1.765), (0.06,1.955,0.23,2.125), (0.06,1.955,0.23,2.125), (0.85,1.955,1.02,2.125), (0.85,1.955,1.02,2.125), (1.64,1.955,1.81,2.125), (1.64,1.955,1.81,2.125), (2.43,1.955,2.6,2.125), (2.43,1.955,2.6,2.125), (3.22,1.955,3.39,2.125), (3.22,1.955,3.39,2.125), (0.06,2.315,0.23,2.485), (0.06,2.315,0.23,2.485), (0.85,2.315,1.02,2.485), (0.85,2.315,1.02,2.485), (1.64,2.315,1.81,2.485), (1.64,2.315,1.81,2.485), (2.43,2.315,2.6,2.485), (2.43,2.315,2.6,2.485), (3.22,2.315,3.39,2.485), (3.22,2.315,3.39,2.485), (0.06,2.675,0.23,2.845), (0.06,2.675,0.23,2.845), (0.85,2.675,1.02,2.845), (0.85,2.675,1.02,2.845), (1.64,2.675,1.81,2.845), (1.64,2.675,1.81,2.845), (2.43,2.675,2.6,2.845), (2.43,2.675,2.6,2.845), (3.22,2.675,3.39,2.845), (3.22,2.675,3.39,2.845)])
R(nmos5_w3p0u_l0p5u_nf4_dr, met1, [(0,3.22,3.45,3.83)])
R(nmos5_w3p0u_l0p5u_nf4_dr, hvi, [(-0.575,-0.575,4.025,4.405)])
R(nmos5_w3p0u_l0p5u_nf4_dr, nsdm, [(-0.125,-0.125,3.575,3.125)])
R(nmos5_w3p0u_l0p5u_nf4_dr, npc, [(0.13,3.12,0.95,3.93), (0.13,3.12,0.95,3.93), (0.92,3.12,1.74,3.93), (0.92,3.12,1.74,3.93), (1.71,3.12,2.53,3.93), (1.71,3.12,2.53,3.93), (2.5,3.12,3.32,3.93), (2.5,3.12,3.32,3.93)])
R(nmos5_w3p0u_l0p5u_nf4_dr, hvntm, [(-0.185,-0.185,3.635,3.185)])
R(nmos5_w3p0u_l0p5u_nf4_dr, boundary, [(-0.515,-0.515,3.965,4.345)])
nmos5_w3p0u_l0p5u_nf4_dr.add(gdstk.FlexPath([(0.145,0),(0.145,3)], 0.29, ends="flush", simple_path=True, layer=67, datatype=20))  # li1
nmos5_w3p0u_l0p5u_nf4_dr.add(gdstk.FlexPath([(0.935,0),(0.935,3)], 0.29, ends="flush", simple_path=True, layer=67, datatype=20))  # li1
nmos5_w3p0u_l0p5u_nf4_dr.add(gdstk.FlexPath([(1.725,0),(1.725,3)], 0.29, ends="flush", simple_path=True, layer=67, datatype=20))  # li1
nmos5_w3p0u_l0p5u_nf4_dr.add(gdstk.FlexPath([(2.515,0),(2.515,3)], 0.29, ends="flush", simple_path=True, layer=67, datatype=20))  # li1
nmos5_w3p0u_l0p5u_nf4_dr.add(gdstk.FlexPath([(3.305,0),(3.305,3)], 0.29, ends="flush", simple_path=True, layer=67, datatype=20))  # li1
nmos5_w3p0u_l0p5u_nf4_dr.add(gdstk.FlexPath([(0.145,-0.03),(0.145,3.03)], 0.29, ends="flush", simple_path=True, layer=68, datatype=20))  # met1
nmos5_w3p0u_l0p5u_nf4_dr.add(gdstk.FlexPath([(0.935,-0.03),(0.935,3.03)], 0.29, ends="flush", simple_path=True, layer=68, datatype=20))  # met1
nmos5_w3p0u_l0p5u_nf4_dr.add(gdstk.FlexPath([(1.725,-0.03),(1.725,3.03)], 0.29, ends="flush", simple_path=True, layer=68, datatype=20))  # met1
nmos5_w3p0u_l0p5u_nf4_dr.add(gdstk.FlexPath([(2.515,-0.03),(2.515,3.03)], 0.29, ends="flush", simple_path=True, layer=68, datatype=20))  # met1
nmos5_w3p0u_l0p5u_nf4_dr.add(gdstk.FlexPath([(3.305,-0.03),(3.305,3.03)], 0.29, ends="flush", simple_path=True, layer=68, datatype=20))  # met1

nmos5d10_3 = lib.new_cell('nmos5d10$3')
r = gdstk.Reference(nmos5_w3p0u_l0p5u_nf4_dr, (0,0)); r.repetition = gdstk.Repetition(1, 1, v1=(0,0), v2=(0,0)); nmos5d10_3.add(r)

via_new_9 = lib.new_cell('via_new$9')
A(via_new_9, licon, 0.215, -0.425, 0.17, 0.17, 11, 3, 0.34, 0.34)
A(via_new_9, mcon, 0.115, -0.445, 0.17, 0.17, 11, 3, 0.36, 0.36)
via_new_9.add(gdstk.FlexPath([(0,0),(4,0)], 1, ends="flush", simple_path=True, layer=67, datatype=20))  # li1
via_new_9.add(gdstk.FlexPath([(0,0),(4,0)], 1, ends="flush", simple_path=True, layer=68, datatype=20))  # met1
via_new_9.add(gdstk.FlexPath([(-0.33,0),(4.33,0)], 1.66, ends="flush", simple_path=True, layer=75, datatype=20))  # hvi
via_new_9.add(gdstk.FlexPath([(-0.125,0),(4.125,0)], 1.25, ends="flush", simple_path=True, layer=94, datatype=20))  # psdm
via_new_9.add(gdstk.FlexPath([(0,0),(4,0)], 1, ends="flush", simple_path=True, layer=65, datatype=44))  # tap

via_new = lib.new_cell('via_new')
R(via_new, via2, [(0.2,-0.3,0.4,-0.1), (0.6,-0.3,0.8,-0.1), (0.2,0.1,0.4,0.3), (0.6,0.1,0.8,0.3)])
via_new.add(gdstk.FlexPath([(0,0),(1,0)], 1, ends="flush", simple_path=True, layer=69, datatype=20))  # met2
via_new.add(gdstk.FlexPath([(0,0),(1,0)], 1, ends="flush", simple_path=True, layer=70, datatype=20))  # met3

via_new_11 = lib.new_cell('via_new$11')
A(via_new_11, via, 0.125, -0.235, 0.15, 0.15, 6, 2, 0.32, 0.32)
A(via_new_11, via2, 0.1, -0.1, 0.2, 0.2, 5, 1, 0.4, 0)
via_new_11.add(gdstk.FlexPath([(0,0),(2,0)], 0.61, ends="flush", simple_path=True, layer=68, datatype=20))  # met1
via_new_11.add(gdstk.FlexPath([(0,0),(2,0)], 0.61, ends="flush", simple_path=True, layer=69, datatype=20))  # met2
via_new_11.add(gdstk.FlexPath([(0,0),(2,0)], 0.61, ends="flush", simple_path=True, layer=70, datatype=20))  # met3

top = lib.new_cell('TOP')
top.add(gdstk.FlexPath([(7.71,12.6),(12.845,12.6)], 0.61, ends="flush", simple_path=True, layer=68, datatype=20))  # met1
top.add(gdstk.FlexPath([(1.245,2.045),(1.245,1.365)], 0.29, ends="flush", simple_path=True, layer=68, datatype=20))  # met1
top.add(gdstk.FlexPath([(2.825,2.045),(2.825,1.365)], 0.29, ends="flush", simple_path=True, layer=68, datatype=20))  # met1
top.add(gdstk.FlexPath([(4.405,2.045),(4.405,1.365)], 0.29, ends="flush", simple_path=True, layer=68, datatype=20))  # met1
top.add(gdstk.FlexPath([(5.985,2.045),(5.985,1.365)], 0.29, ends="flush", simple_path=True, layer=68, datatype=20))  # met1
top.add(gdstk.FlexPath([(7.565,2.045),(7.565,1.365)], 0.29, ends="flush", simple_path=True, layer=68, datatype=20))  # met1
top.add(gdstk.FlexPath([(-0.35,18.05),(-0.35,18.865)], 0.29, ends="flush", simple_path=True, layer=68, datatype=20))  # met1
top.add(gdstk.FlexPath([(10.23,18.05),(10.23,18.865)], 0.29, ends="flush", simple_path=True, layer=68, datatype=20))  # met1
top.add(gdstk.FlexPath([(-7.77,14.265),(-2.365,14.265)], 0.61, ends="flush", simple_path=True, layer=68, datatype=20))  # met1
top.add(gdstk.FlexPath([(-9.55,8.99),(-9.55,0.365)], 3, ends="flush", simple_path=True, layer=68, datatype=20))  # met1
top.add(gdstk.FlexPath([(0.335,0.865),(-11.05,0.865)], 1, ends="flush", simple_path=True, layer=68, datatype=20))  # met1
top.add(gdstk.FlexPath([(10.345,17.075),(12.845,17.075)], 0.61, ends="flush", simple_path=True, layer=68, datatype=20))  # met1
top.add(gdstk.FlexPath([(7.71,9.1),(-4.36,9.1)], 1, ends="flush", simple_path=True, layer=69, datatype=20))  # met2
top.add(gdstk.FlexPath([(-15.74,12.69),(-8.545,12.69)], 1, ends="flush", simple_path=True, layer=69, datatype=20))  # met2
top.add(gdstk.FlexPath([(-11.235,11.355),(-5.44,11.355)], 1, ends="flush", simple_path=True, layer=69, datatype=20))  # met2
top.add(gdstk.FlexPath([(-0.895,19.365),(-6.435,19.365)], 1, ends="flush", simple_path=True, layer=69, datatype=20))  # met2
top.add(gdstk.FlexPath([(5.085,17.92),(-4.365,17.92)], 0.7, ends="flush", simple_path=True, layer=69, datatype=20))  # met2
top.add(gdstk.FlexPath([(-5.94,10.855),(-5.94,19.865)], 1, ends="flush", simple_path=True, layer=70, datatype=20))  # met3
top.add(gdstk.FlexPath([(12.345,17.38),(12.345,12.295)], 1, ends="flush", simple_path=True, layer=70, datatype=20))  # met3
top.add(gdstk.FlexPath([(-3.365,18.27),(-3.365,8.6)], 2, ends="flush", simple_path=True, layer=70, datatype=20))  # met3
top.add(gdstk.Reference(via_new_10, (-0.895,19.365)))
top.add(gdstk.Reference(pmos5d10, (-0.495,17.6)))
top.add(gdstk.Reference(via_new_5, (4.78,17.92)))
top.add(gdstk.Reference(via_new_6, (11.845,17.075)))
top.add(gdstk.Reference(via_new_6, (11.845,12.6)))
top.add(gdstk.Reference(via_new_7, (-4.365,17.92)))
top.add(gdstk.Reference(via_new_3, (-4.36,9.1)))
r = gdstk.Reference(via_new_8, (1.875,9.1)); r.repetition = gdstk.Repetition(4, 1, v1=(1.58,0), v2=(0,0)); top.add(r)
top.add(gdstk.Reference(via_new_12, (0.33,0.865)))
top.add(gdstk.Reference(nmos5d10_1, (1.1,2.075)))
top.add(gdstk.Reference(nmos5d10_3, (-11.22,10.74)))
top.add(gdstk.Reference(via_new_9, (-11.515,9.49)))
r = gdstk.Reference(via_new_8, (-10.445,12.69)); r.repetition = gdstk.Repetition(2, 1, v1=(1.58,0), v2=(0,0)); top.add(r)
r = gdstk.Reference(via_new_8, (-11.235,11.355)); r.repetition = gdstk.Repetition(3, 1, v1=(1.58,0), v2=(0,0)); top.add(r)
top.add(gdstk.Reference(via_new, (-6.44,11.355)))
top.add(gdstk.Reference(via_new, (-6.44,19.365)))
top.add(gdstk.Reference(via_new_11, (-4.365,14.265)))
top.add(gdstk.Label('bg_out', (12.21,14.505), layer=70, texttype=5))
top.add(gdstk.Label('GND', (4.99,0.75), layer=68, texttype=5))
top.add(gdstk.Label('GND', (4.99,0.75), layer=68, texttype=5))
top.add(gdstk.Label('VDD', (5.26,19.585), layer=68, texttype=5))
top.add(gdstk.Label('inn', (-14.28,12.625), layer=69, texttype=5))

lib.write_gds('TOP.gds')
